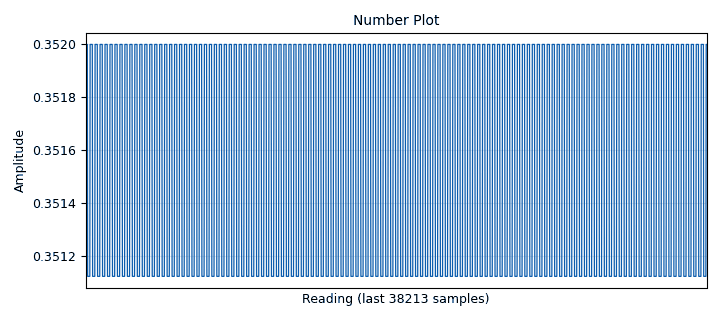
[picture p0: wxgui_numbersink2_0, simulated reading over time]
<?xml version='1.0' encoding='utf-8'?>
<?grc format='1' created='3.7.10'?>
<flow_graph>
<block>
<key>options</key>
<param><key>id</key><value>top_block</value></param>
<param><key>generate_options</key><value>wx_gui</value></param>
</block>
<block>
<key>variable</key>
<param><key>id</key><value>samp_rate</value></param>
<param><key>value</key><value>32000</value></param>
</block>
<block>
<key>analog_noise_source_x</key>
<param><key>id</key><value>analog_noise_source_x_0</value></param>
<param><key>amp</key><value>0.125</value></param>
<param><key>noise_type</key><value>analog.GR_GAUSSIAN</value></param>
<param><key>type</key><value>float</value></param>
<param><key>seed</key><value>0</value></param>
</block>
<block>
<key>analog_sig_source_x</key>
<param><key>id</key><value>analog_sig_source_x_0</value></param>
<param><key>amp</key><value>1</value></param>
<param><key>freq</key><value>10000</value></param>
<param><key>offset</key><value>0</value></param>
<param><key>type</key><value>float</value></param>
<param><key>samp_rate</key><value>samp_rate</value></param>
<param><key>waveform</key><value>analog.GR_COS_WAVE</value></param>
</block>
<block>
<key>blks2_error_rate</key>
<param><key>id</key><value>blks2_error_rate_0</value></param>
<param><key>bits_per_symbol</key><value>8</value></param>
<param><key>type</key><value>'BER'</value></param>
<param><key>win_size</key><value>1000</value></param>
</block>
<block>
<key>blocks_float_to_char</key>
<param><key>id</key><value>blocks_float_to_char_0</value></param>
<param><key>scale</key><value>1</value></param>
</block>
<block>
<key>blocks_float_to_char</key>
<param><key>id</key><value>blocks_float_to_char_1</value></param>
<param><key>scale</key><value>1</value></param>
</block>
<block>
<key>blocks_multiply_xx</key>
<param><key>id</key><value>blocks_multiply_xx_0</value></param>
<param><key>type</key><value>float</value></param>
</block>
<block>
<key>blocks_throttle</key>
<param><key>id</key><value>blocks_throttle_0</value></param>
<param><key>samples_per_second</key><value>samp_rate</value></param>
<param><key>type</key><value>float</value></param>
</block>
<block>
<key>wxgui_numbersink2</key>
<param><key>id</key><value>wxgui_numbersink2_0</value></param>
<param><key>avg_alpha</key><value>0</value></param>
<param><key>average</key><value>False</value></param>
<param><key>decimal_places</key><value>10</value></param>
<param><key>factor</key><value>1.0</value></param>
<param><key>max_value</key><value>100</value></param>
<param><key>min_value</key><value>-100</value></param>
<param><key>number_rate</key><value>15</value></param>
<param><key>peak_hold</key><value>False</value></param>
<param><key>ref_level</key><value>0</value></param>
<param><key>samp_rate</key><value>samp_rate</value></param>
<param><key>show_gauge</key><value>True</value></param>
<param><key>title</key><value>Number Plot</value></param>
<param><key>type</key><value>float</value></param>
<param><key>units</key><value>Units</value></param>
</block>
<block>
<key>wxgui_scopesink2</key>
<param><key>id</key><value>wxgui_scopesink2_0</value></param>
<param><key>ac_couple</key><value>False</value></param>
<param><key>_enabled</key><value>0</value></param>
<param><key>num_inputs</key><value>1</value></param>
<param><key>samp_rate</key><value>samp_rate</value></param>
<param><key>t_scale</key><value>0</value></param>
<param><key>title</key><value>Scope Plot</value></param>
<param><key>trig_mode</key><value>wxgui.TRIG_MODE_AUTO</value></param>
<param><key>type</key><value>float</value></param>
<param><key>v_offset</key><value>0</value></param>
<param><key>v_scale</key><value>0</value></param>
<param><key>xy_mode</key><value>False</value></param>
<param><key>y_axis_label</key><value>Counts</value></param>
</block>
<connection><source_block_id>analog_noise_source_x_0</source_block_id><sink_block_id>blocks_multiply_xx_0</sink_block_id><source_key>0</source_key><sink_key>1</sink_key></connection>
<connection><source_block_id>analog_sig_source_x_0</source_block_id><sink_block_id>blocks_float_to_char_1</sink_block_id><source_key>0</source_key><sink_key>0</sink_key></connection>
<connection><source_block_id>analog_sig_source_x_0</source_block_id><sink_block_id>blocks_multiply_xx_0</sink_block_id><source_key>0</source_key><sink_key>0</sink_key></connection>
<connection><source_block_id>blks2_error_rate_0</source_block_id><sink_block_id>wxgui_numbersink2_0</sink_block_id><source_key>0</source_key><sink_key>0</sink_key></connection>
<connection><source_block_id>blocks_float_to_char_0</source_block_id><sink_block_id>blks2_error_rate_0</sink_block_id><source_key>0</source_key><sink_key>0</sink_key></connection>
<connection><source_block_id>blocks_float_to_char_1</source_block_id><sink_block_id>blks2_error_rate_0</sink_block_id><source_key>0</source_key><sink_key>1</sink_key></connection>
<connection><source_block_id>blocks_multiply_xx_0</source_block_id><sink_block_id>blocks_throttle_0</sink_block_id><source_key>0</source_key><sink_key>0</sink_key></connection>
<connection><source_block_id>blocks_throttle_0</source_block_id><sink_block_id>blocks_float_to_char_0</sink_block_id><source_key>0</source_key><sink_key>0</sink_key></connection>
<connection><source_block_id>blocks_throttle_0</source_block_id><sink_block_id>wxgui_scopesink2_0</sink_block_id><source_key>0</source_key><sink_key>0</sink_key></connection>
</flow_graph>
